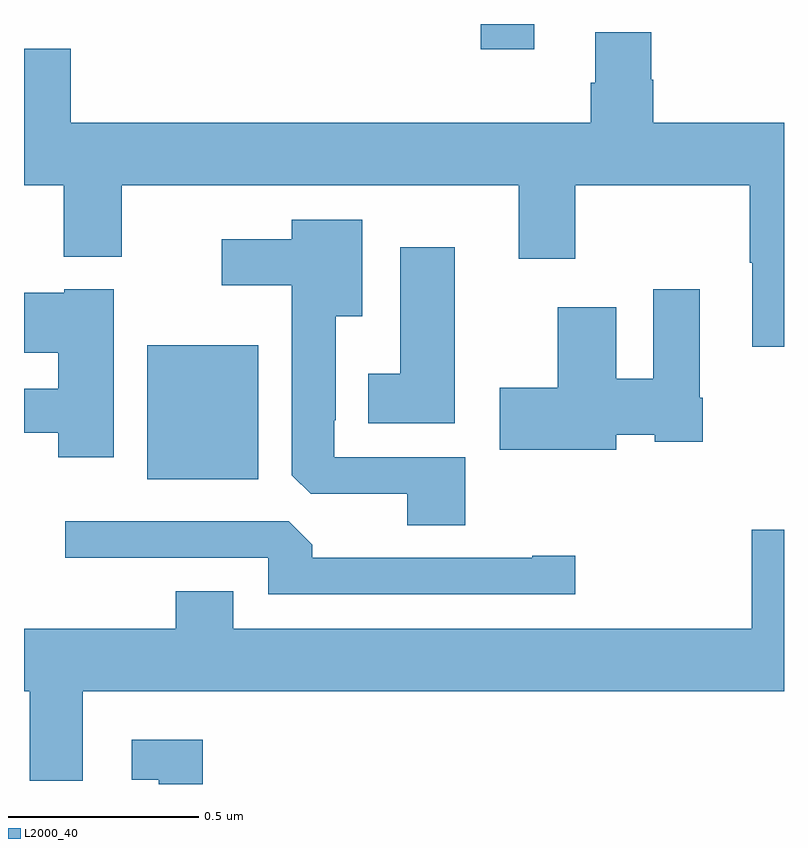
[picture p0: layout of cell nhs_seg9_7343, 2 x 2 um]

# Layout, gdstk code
import gdstk
lib = gdstk.Library(unit=1e-6, precision=1e-09)
def R(c, l, rs):  # rectangles x0, y0, x1, y1
    for r in rs: c.add(gdstk.rectangle(r[:2], r[2:], *l))
def P(c, l, *ps):  # polygons
    for p in ps: c.add(gdstk.Polygon(p, *l))
L2000_40 = (2000, 40)

nhs_seg9_7343 = lib.new_cell('nhs_seg9_7343')
R(nhs_seg9_7343, L2000_40, [(203.324,1206.302,203.617,1206.655), (204.202,1207.434,204.343,1207.5)])
P(nhs_seg9_7343, L2000_40, [(205,1207.24),(204.656,1207.24),(204.656,1207.353),(204.651,1207.353),(204.651,1207.478),(204.503,1207.478),(204.503,1207.346),(204.491,1207.346),(204.491,1207.24),(203.123,1207.24),(203.123,1207.435),(203,1207.435),(203,1207.076),(203.105,1207.076),(203.105,1206.887),(203.257,1206.887),(203.257,1207.076),(204.302,1207.076),(204.302,1206.882),(204.45,1206.882),(204.45,1207.076),(204.91,1207.076),(204.91,1206.872),(204.917,1206.872),(204.917,1206.651),(205,1206.651)],
  [(204.161,1206.36),(203.817,1206.36),(203.817,1206.457),(203.821,1206.457),(203.821,1206.731),(203.89,1206.731),(203.89,1206.985),(203.705,1206.985),(203.705,1206.934),(203.52,1206.934),(203.52,1206.812),(203.705,1206.812),(203.705,1206.313),(203.754,1206.264),(204.008,1206.264),(204.008,1206.181),(204.161,1206.181)],
  [(204.133,1206.913),(203.99,1206.913),(203.99,1206.58),(203.906,1206.58),(203.906,1206.449),(204.133,1206.449)],
  [(204.559,1206.419),(204.66,1206.419),(204.66,1206.401),(204.786,1206.401),(204.786,1206.517),(204.778,1206.517),(204.778,1206.802),(204.656,1206.802),(204.656,1206.566),(204.559,1206.566),(204.559,1206.754),(204.404,1206.754),(204.404,1206.543),(204.252,1206.543),(204.252,1206.38),(204.559,1206.38)],
  [(203.236,1206.802),(203.106,1206.802),(203.106,1206.793),(203,1206.793),(203,1206.635),(203.09,1206.635),(203.09,1206.54),(203,1206.54),(203,1206.424),(203.09,1206.424),(203.09,1206.36),(203.236,1206.36)],
  [(204.451,1206.101),(204.338,1206.101),(204.338,1206.096),(203.759,1206.096),(203.759,1206.13),(203.697,1206.192),(203.109,1206.192),(203.109,1206.096),(203.643,1206.096),(203.643,1206),(204.451,1206)],
  [(203.155,1205.744),(205,1205.744),(205,1206.169),(204.915,1206.169),(204.915,1205.908),(203.551,1205.908),(203.551,1206.007),(203.399,1206.007),(203.399,1205.908),(203,1205.908),(203,1205.744),(203.015,1205.744),(203.015,1205.509),(203.155,1205.509)],
  [(203.471,1205.617),(203.283,1205.617),(203.283,1205.511),(203.355,1205.511),(203.355,1205.5),(203.471,1205.5)])

lib.write_gds('nhs_seg9_7343.gds')
